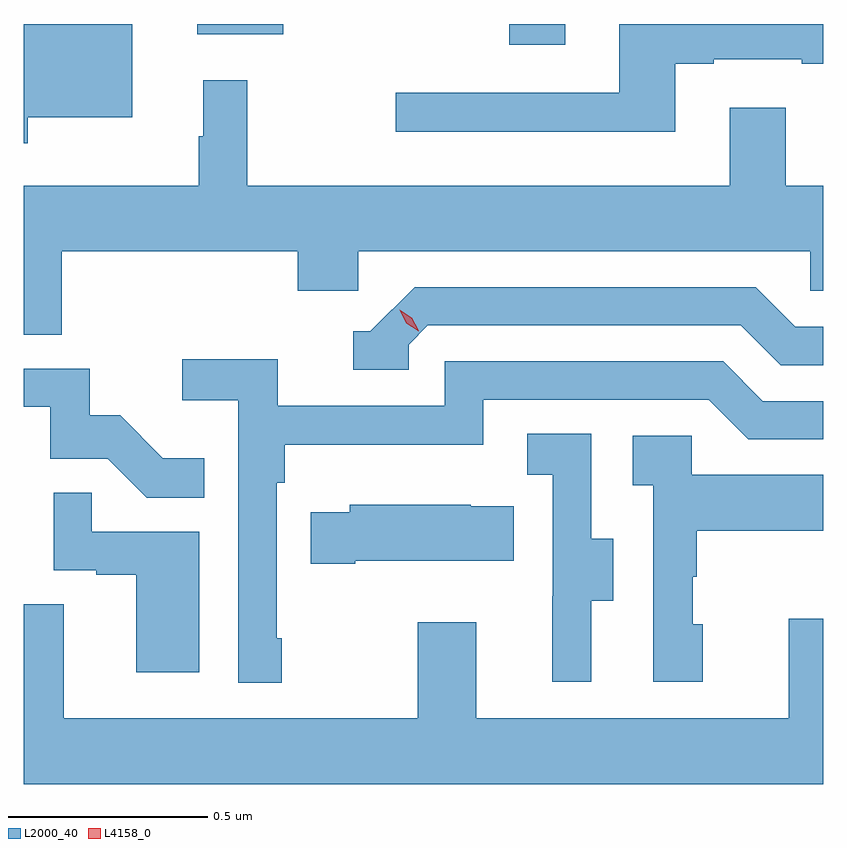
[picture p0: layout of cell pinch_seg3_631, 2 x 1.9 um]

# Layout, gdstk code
import gdstk
lib = gdstk.Library(unit=1e-6, precision=1e-09)
def R(c, l, rs):  # rectangles x0, y0, x1, y1
    for r in rs: c.add(gdstk.rectangle(r[:2], r[2:], *l))
def P(c, l, *ps):  # polygons
    for p in ps: c.add(gdstk.Polygon(p, *l))
L2000_40 = (2000, 40)
L4158_0 = (4158, 0)

pinch_seg3_631 = lib.new_cell('pinch_seg3_631')
R(pinch_seg3_631, L2000_40, [(1066.709,682.785,1066.849,682.837), (1065.929,682.811,1066.144,682.837)])
P(pinch_seg3_631, L2000_40, [(1067.125,682.737),(1067.221,682.737),(1067.221,682.749),(1067.441,682.749),(1067.441,682.737),(1067.495,682.737),(1067.495,682.837),(1066.985,682.837),(1066.985,682.665),(1066.425,682.665),(1066.425,682.568),(1067.125,682.568)],
  [(1065.505,682.604),(1065.766,682.604),(1065.766,682.837),(1065.495,682.837),(1065.495,682.539),(1065.505,682.539)],
  [(1065.59,682.268),(1066.181,682.268),(1066.181,682.17),(1066.332,682.17),(1066.332,682.268),(1067.463,682.268),(1067.463,682.17),(1067.495,682.17),(1067.495,682.432),(1067.401,682.432),(1067.401,682.627),(1067.261,682.627),(1067.261,682.432),(1066.054,682.432),(1066.054,682.696),(1065.944,682.696),(1065.944,682.556),(1065.933,682.556),(1065.933,682.432),(1065.495,682.432),(1065.495,682.06),(1065.59,682.06)],
  [(1066.458,682.035),(1066.506,682.083),(1067.289,682.083),(1067.388,681.984),(1067.495,681.984),(1067.495,682.08),(1067.425,682.08),(1067.326,682.179),(1066.473,682.179),(1066.362,682.068),(1066.319,682.068),(1066.319,681.972),(1066.458,681.972)],
  [(1066.141,681.301),(1066.128,681.301),(1066.128,681.689),(1066.148,681.689),(1066.148,681.785),(1066.644,681.785),(1066.644,681.897),(1067.208,681.897),(1067.307,681.798),(1067.495,681.798),(1067.495,681.894),(1067.344,681.894),(1067.245,681.993),(1066.548,681.993),(1066.548,681.882),(1066.13,681.882),(1066.13,681.998),(1065.891,681.998),(1065.891,681.896),(1066.032,681.896),(1066.032,681.189),(1066.141,681.189)],
  [(1065.947,681.751),(1065.843,681.751),(1065.736,681.858),(1065.66,681.858),(1065.66,681.975),(1065.495,681.975),(1065.495,681.879),(1065.561,681.879),(1065.561,681.75),(1065.705,681.75),(1065.803,681.652),(1065.947,681.652)],
  [(1066.915,681.394),(1066.969,681.394),(1066.969,681.549),(1066.914,681.549),(1066.914,681.812),(1066.755,681.812),(1066.755,681.709),(1066.818,681.709),(1066.818,681.405),(1066.817,681.405),(1066.817,681.192),(1066.915,681.192)],
  [(1067.194,681.336),(1067.169,681.336),(1067.169,681.455),(1067.179,681.455),(1067.179,681.569),(1067.495,681.569),(1067.495,681.709),(1067.166,681.709),(1067.166,681.807),(1067.019,681.807),(1067.019,681.683),(1067.07,681.683),(1067.07,681.192),(1067.194,681.192)],
  [(1065.934,681.567),(1065.665,681.567),(1065.665,681.665),(1065.57,681.665),(1065.57,681.471),(1065.677,681.471),(1065.677,681.459),(1065.776,681.459),(1065.776,681.216),(1065.934,681.216)],
  [(1066.324,681.494),(1066.721,681.494),(1066.721,681.631),(1066.613,681.631),(1066.613,681.634),(1066.311,681.634),(1066.311,681.616),(1066.213,681.616),(1066.213,681.487),(1066.324,681.487)],
  [(1067.495,681.349),(1067.408,681.349),(1067.408,681.1),(1066.627,681.1),(1066.627,681.34),(1066.48,681.34),(1066.48,681.1),(1065.595,681.1),(1065.595,681.386),(1065.495,681.386),(1065.495,680.936),(1067.495,680.936)])
P(pinch_seg3_631, L4158_0, [(1066.483,682.069),(1066.452,682.089),(1066.435,682.121),(1066.435,682.122),(1066.436,682.122),(1066.466,682.102),(1066.483,682.07),(1066.483,682.069)])

lib.write_gds('pinch_seg3_631.gds')
